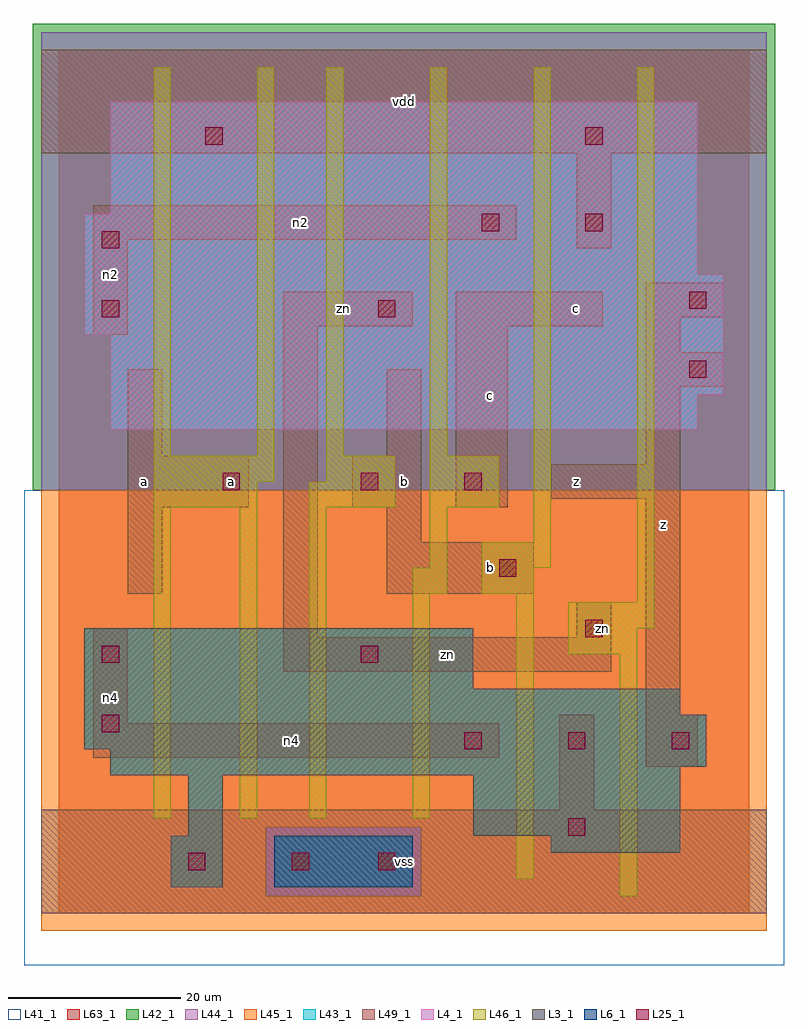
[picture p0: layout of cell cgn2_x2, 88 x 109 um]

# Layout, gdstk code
import gdstk
lib = gdstk.Library(unit=1e-6, precision=1e-09)
def R(c, l, rs):  # rectangles x0, y0, x1, y1
    for r in rs: c.add(gdstk.rectangle(r[:2], r[2:], *l))
def A(c, l, x, y, w, h, nx, ny, dx, dy):  # array of equal rectangles
    R(c, l, [(x+i*dx, y+j*dy, x+i*dx+w, y+j*dy+h) for i in range(nx) for j in range(ny)])
L3_1 = (3, 1)
L4_1 = (4, 1)
L6_1 = (6, 1)
L25_1 = (25, 1)
L41_1 = (41, 1)
L42_1 = (42, 1)
L43_1 = (43, 1)
L44_1 = (44, 1)
L45_1 = (45, 1)
L46_1 = (46, 1)
L49_1 = (49, 1)
L63_1 = (63, 1)

cgn2_x2 = lib.new_cell('cgn2_x2')
R(cgn2_x2, L3_1, [(13,3,19,9), (57,7,72,9), (15,9,19,16), (48,9,72,16), (6,16,72,17), (6,17,75,19), (3,19,75,23), (3,23,72,26), (3,26,48,33)])
R(cgn2_x2, L4_1, [(6,56,74,60), (6,60,77,67), (3,67,77,74), (3,74,74,81), (6,81,74,94)])
R(cgn2_x2, L6_1, [(25,3,41,9)])
A(cgn2_x2, L25_1, 47, 19, 2, 2, 3, 1, 12, 0)
R(cgn2_x2, L25_1, [(15,5,17,7), (27,5,29,7), (37,5,39,7), (59,9,61,11), (5,21,7,23), (5,29,7,31), (35,29,37,31), (61,32,63,34), (51,39,53,41), (19,49,21,51), (35,49,37,51), (47,49,49,51), (73,62,75,64), (5,69,7,71), (37,69,39,71), (73,70,75,72), (5,77,7,79), (49,79,51,81), (61,79,63,81), (17,89,19,91), (61,89,63,91)])
R(cgn2_x2, L41_1, [(-4,-6,84,49), (-3,-3,83,49)])
R(cgn2_x2, L42_1, [(-3,49,83,103)])
R(cgn2_x2, L43_1, [(13,3,19,9), (25,3,41,9), (57,7,72,9), (15,9,19,16), (48,9,72,16), (6,16,72,17), (6,17,75,19), (3,19,75,23), (3,23,72,26), (3,26,48,33), (6,56,74,60), (6,60,77,67), (3,67,77,74), (3,74,74,81), (6,81,74,94)])
R(cgn2_x2, L44_1, [(24,2,42,10), (-2,49,82,102)])
R(cgn2_x2, L45_1, [(-2,-2,82,2), (-2,2,24,10), (42,2,82,10), (-2,10,82,49)])
R(cgn2_x2, L46_1, [(65,2,67,30), (53,4,55,37), (11,11,13,47), (21,11,23,47), (29,11,31,47), (41,11,43,37), (59,30,67,33), (59,33,69,36), (67,36,69,98), (41,37,45,40), (49,37,55,40), (43,40,45,47), (49,40,57,43), (55,43,57,98), (11,47,23,50), (29,47,39,50), (43,47,51,53), (11,50,25,53), (31,50,39,53), (11,53,13,98), (23,53,25,98), (31,53,33,98), (43,53,45,98)])
R(cgn2_x2, L49_1, [(-2,0,82,12), (58,12,62,23), (68,17,74,23), (4,18,51,22), (4,22,8,33), (68,23,72,48), (26,28,64,32), (26,32,30,68), (60,32,64,36), (8,37,12,47), (38,37,55,43), (38,43,42,47), (8,47,22,53), (34,47,42,53), (46,47,52,68), (57,48,72,52), (68,52,72,61), (8,53,12,63), (38,53,42,63), (68,61,77,65), (68,65,72,69), (4,67,8,78), (26,68,41,72), (46,68,63,72), (68,69,77,73), (60,77,64,88), (4,78,53,82), (-2,88,82,100)])
R(cgn2_x2, L63_1, [(0,0,80,100)])
cgn2_x2.add(gdstk.Label('zn', (63,33), layer=49, texttype=1))
cgn2_x2.add(gdstk.Label('n4', (6,25), layer=49, texttype=1))
cgn2_x2.add(gdstk.Label('a', (10,50), layer=49, texttype=1))
cgn2_x2.add(gdstk.Label('a', (10,50), layer=49, texttype=1))
cgn2_x2.add(gdstk.Label('n2', (6,74), layer=49, texttype=1))
cgn2_x2.add(gdstk.Label('a', (20,50), layer=49, texttype=1))
cgn2_x2.add(gdstk.Label('a', (20,50), layer=49, texttype=1))
cgn2_x2.add(gdstk.Label('vss', (40,6), layer=49, texttype=1))
cgn2_x2.add(gdstk.Label('vss', (40,6), layer=49, texttype=1))
cgn2_x2.add(gdstk.Label('b', (40,50), layer=49, texttype=1))
cgn2_x2.add(gdstk.Label('b', (40,50), layer=49, texttype=1))
cgn2_x2.add(gdstk.Label('zn', (33,70), layer=49, texttype=1))
cgn2_x2.add(gdstk.Label('vdd', (40,94), layer=49, texttype=1))
cgn2_x2.add(gdstk.Label('vdd', (40,94), layer=49, texttype=1))
cgn2_x2.add(gdstk.Label('n4', (27,20), layer=49, texttype=1))
cgn2_x2.add(gdstk.Label('zn', (45,30), layer=49, texttype=1))
cgn2_x2.add(gdstk.Label('zn', (62,32), layer=49, texttype=1))
cgn2_x2.add(gdstk.Label('b', (50,40), layer=49, texttype=1))
cgn2_x2.add(gdstk.Label('b', (50,40), layer=49, texttype=1))
cgn2_x2.add(gdstk.Label('z', (60,50), layer=49, texttype=1))
cgn2_x2.add(gdstk.Label('z', (60,50), layer=49, texttype=1))
cgn2_x2.add(gdstk.Label('c', (50,60), layer=49, texttype=1))
cgn2_x2.add(gdstk.Label('c', (50,60), layer=49, texttype=1))
cgn2_x2.add(gdstk.Label('c', (60,70), layer=49, texttype=1))
cgn2_x2.add(gdstk.Label('c', (60,70), layer=49, texttype=1))
cgn2_x2.add(gdstk.Label('n2', (28,80), layer=49, texttype=1))
cgn2_x2.add(gdstk.Label('z', (70,45), layer=49, texttype=1))
cgn2_x2.add(gdstk.Label('z', (70,45), layer=49, texttype=1))

lib.write_gds('cgn2_x2.gds')
